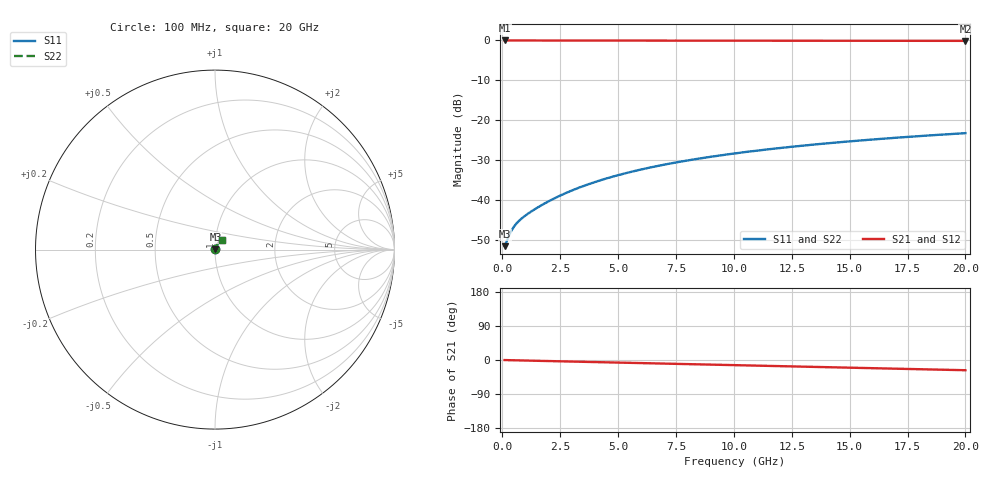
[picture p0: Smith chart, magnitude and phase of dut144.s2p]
! Touchstone file exported from HFSS 2026.1.0
!  File:  C:/ffzhzh/LocalFiles/Ansys_Project_Files/temp_train_TMRDL_144_1782983000_41620.aedt
!  Generated:  05:04:31 PM Jul  2, 2026
!  Design:  TMRDL
!  Project:  temp_train_TMRDL_144_1782983000_41620
! Variables:
!  h_bsmrdl = 2um
!  h_ox = 20um
!  h_rdl = 5um
!  h_sub = 80um
!  h_tmrdl = 2.56um
!  h_tsv = 80um
!  h_via = 3um
!  l_bsmrdl = 300um
!  l_sub = 857.87um
!  l_tmrdl = 457.87um
!  m_sub = 200um
!  pitch = 35.41um
!  r_tsv = 6um
!  s_tmrdl = 10um
!  w_bsmrdl = 18um
!  w_sub = 500um
!  w_tmrdl = 29.3um
!  x_tsv_center1 = 472.52um
!  x_tsv_center2 = 790.52um
!  x_tsv_center3 = 1277.69um
!  x_tsv_center4 = 1595.69um
!  x_tsv_center5 = 2082.86um
!  x_tsv_center6 = 2400.86um
# GHz S MA R 50.000000
! Terminal data exported
! Port[1] = TM_RDL1_1_T1
! Port[2] = TM_RDL1_1_T2
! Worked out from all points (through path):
!   200 points, 100 MHz to 20 GHz, reference 50 ohm
!   highest |S21| = -0.02 dB at 100 MHz (marker M1); lowest = -0.1 dB at 20 GHz (marker M2)
!   group delay of S21, straight-line fit = 3.74 ps
!   lowest |S11| = -51.5 dB at 100 MHz (marker M3), VSWR 1.01, Z = 50.3 + j0.0796 ohm
!   |S11| at or under -10 dB: start of sweep to end of sweep
!   |S22| runs from -51.5 to -23.2 dB; largest |S21 - S12| = 2.1e-15
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0.1  0.002673 17.2  0.9974 -0.2  0.9974 -0.2  0.002673 17.2
! Gamma 0 0 0 0
! Port Impedance 50 0 50 0
0.3  0.003689 34.9  0.997 -0.5  0.997 -0.5  0.003689 34.9
0.4  0.004211 38.4  0.9967 -0.6  0.9967 -0.6  0.00421 38.4
0.5  0.004677 40.6  0.9965 -0.7  0.9965 -0.7  0.004676 40.6
0.6  0.005091 42.3  0.9963 -0.9  0.9963 -0.9  0.00509 42.3
0.7  0.005465 43.8  0.9961 -1.0  0.9961 -1.0  0.005464 43.8
1  0.006465 47.9  0.9958 -1.4  0.9958 -1.4  0.006463 47.9
1.5  0.008056 54.0  0.9955 -2.1  0.9955 -2.1  0.008054 54.0
2.1  0.01006 59.3  0.9953 -2.9  0.9953 -2.9  0.01006 59.3
2.8  0.01254 63.2  0.9951 -3.9  0.9951 -3.9  0.01254 63.2
3.5  0.01509 65.5  0.9948 -4.8  0.9948 -4.8  0.01509 65.5
4.2  0.01768 66.7  0.9946 -5.8  0.9946 -5.8  0.01767 66.8
5  0.02064 67.4  0.9942 -6.9  0.9942 -6.9  0.02064 67.4
5.9  0.02395 67.5  0.9938 -8.1  0.9938 -8.1  0.02395 67.6
6.8  0.02723 67.3  0.9933 -9.3  0.9933 -9.3  0.02723 67.3
8.3  0.03259 66.3  0.9925 -11.4  0.9925 -11.4  0.03259 66.3
10.1  0.03881 64.6  0.9914 -13.8  0.9914 -13.8  0.03881 64.7
11.7  0.04415 62.9  0.9904 -15.9  0.9904 -15.9  0.04415 63.0
13.4  0.04963 61.0  0.9894 -18.2  0.9894 -18.2  0.04963 61.1
15  0.05462 59.1  0.9885 -20.3  0.9885 -20.3  0.05462 59.2
16.7  0.05974 57.2  0.9875 -22.6  0.9875 -22.6  0.05974 57.3
20  0.06918 53.3  0.9856 -27.0  0.9856 -27.0  0.06918 53.4
